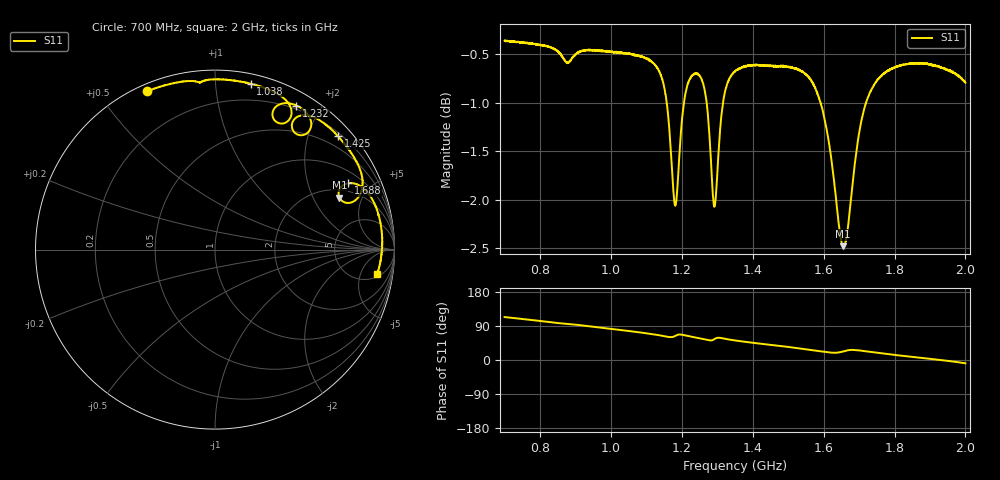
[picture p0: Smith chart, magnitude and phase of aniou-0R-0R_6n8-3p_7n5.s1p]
!Keysight Technologies,P9371A,MY57212015,Z.15.41.75
!Date: Tuesday, May 10, 2022 09:14:22
!Correction: S11(C  1-Port  )
!S1P File: Measurement: S11:
# Hz S  dB  R 50
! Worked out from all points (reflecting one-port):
!   2601 points, 700 MHz to 2 GHz, reference 50 ohm
!   lowest |S11| = -2.5 dB at 1.655 GHz (marker M1), VSWR 7.05, Z = 122 + j163 ohm
!   phase of S11 starts at 113 deg and turns -122 deg over the sweep
!   S11 on the Smith chart (normalised r, x): 700 MHz: 0.03, +0.66; 1.038 GHz: 0.07, +1.23; 1.232 GHz: 0.16, +1.70; 1.425 GHz: 0.27, +2.54; 1.688 GHz: 1.54, +3.64; 2 GHz: 6, -10
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7e8  -0.36 113.3
8.625e8  -0.52 96.3
1.025e9  -0.48 79.4
1.038e9  -0.49 77.9
1.117e9  -0.58 68.2
1.157e9  -0.98 61.7
1.167e9  -1.38 60.3
1.176e9  -1.90 61.3
1.1875e9  -1.88 66.4
1.2055e9  -1.01 65.7
1.2325e9  -0.71 60.5
1.2695e9  -0.98 53.2
1.2785e9  -1.37 51.7
1.2865e9  -1.89 52.5
1.3015e9  -1.64 58.6
1.318e9  -0.95 56.8
1.35e9  -0.67 51.7
1.425e9  -0.61 42.7
1.5125e9  -0.64 33.1
1.5955e9  -1.05 22.4
1.633e9  -1.92 19.1
1.6555e9  -2.48 22.7
1.675e9  -2.07 26.5
1.688e9  -1.63 26.5
1.7465e9  -0.79 19.5
1.8375e9  -0.60 9.5
1.925e9  -0.62 0.5
2e9  -0.79 -8.6
